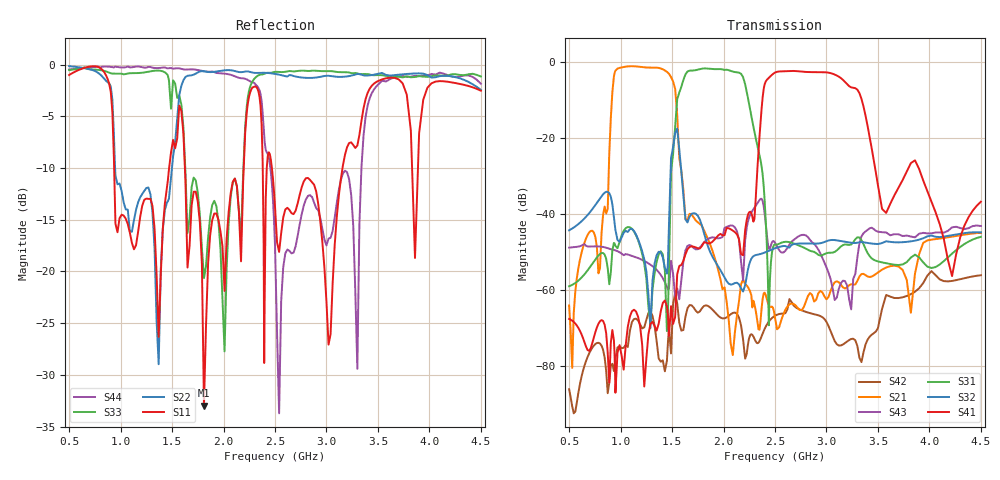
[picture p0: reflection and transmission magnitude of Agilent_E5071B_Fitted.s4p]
!Generated from: BroadbandSPICE
! 1
! 2
! 3
! 4
!BroadbandSPICE Version: 24.1.0.10141.541387  000
!Computer Host Name: RD78ECE-EMCLAB
!TouchstoneFormatFlag = 1
!Agilent Technologies,E5071B,JP1KK00288,A.09.10
!Date: Thu Apr 05 13:49:22 2012
!Data & Calibration Information:
!Freq	S11:SOLT4(ON)	S12:SOLT4(ON)	S13:SOLT4(ON)	S14:SOLT4(ON)
!	S21:SOLT4(ON)	S22:SOLT4(ON)	S23:SOLT4(ON)	S24:SOLT4(ON)
!	S31:SOLT4(ON)	S32:SOLT4(ON)	S33:SOLT4(ON)	S34:SOLT4(ON)
!	S41:SOLT4(ON)	S42:SOLT4(ON)	S43:SOLT4(ON)	S44:SOLT4(ON)
#	Hz	S	RI	R	75
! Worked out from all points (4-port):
!   205 points, 500 MHz to 4.5 GHz, reference 75 ohm
!   strongest paths, dB at 500 MHz, 1.33 GHz, 2.245 GHz, 2.98 GHz, 4.5 GHz:
!     S41: -67.6, -69.4, -39.8, -2.8, -36.8
!     S32: -44.3, -53.1, -53.7, -47.4, -44.8
!     S31: -59.0, -55.6, -10.7, -50.6, -46.0
!     S43: -48.9, -54.2, -41.2, -52.8, -43.2
!     S21: -64.0, -1.6, -59.6, -61.6, -45.0
!     S42: -86.0, -69.3, -73.1, -67.6, -56.1
!   lowest |S11| = -33.0 dB at 1.81 GHz (marker M1), VSWR 1.05, Z = 76.3 - j3.13 ohm
!   |S11| at or under -10 dB: 937.3 MHz to 1.471 GHz (534 MHz wide, 44.3 % of centre); 1.625 GHz to 2.196 GHz (571.4 MHz wide, 29.9 % of centre); 2.47 GHz to 3.156 GHz (685.8 MHz wide, 24.4 % of centre)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
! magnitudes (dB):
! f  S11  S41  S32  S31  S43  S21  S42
! 500 MHz  -1.0  -67.6  -44.3  -59.0  -48.9  -64.0  -86.0
! 970 MHz  -16.2  -76.5  -46.8  -49.0  -49.8  -1.8  -75.1
! 1.45 GHz  -11.9  -64.3  -55.7  -70.8  -59.2  -2.7  -78.6
! 1.55 GHz  -7.1  -55.9  -17.6  -9.9  -59.6  -14.0  -63.5
! 1.81 GHz  -33.0  -47.5  -45.0  -1.8  -47.5  -44.3  -64.2
! 2.44 GHz  -8.5  -4.3  -49.7  -69.3  -49.2  -64.1  -68.3
! 4.5 GHz  -2.5  -36.8  -44.8  -46.0  -43.2  -45.0  -56.1
